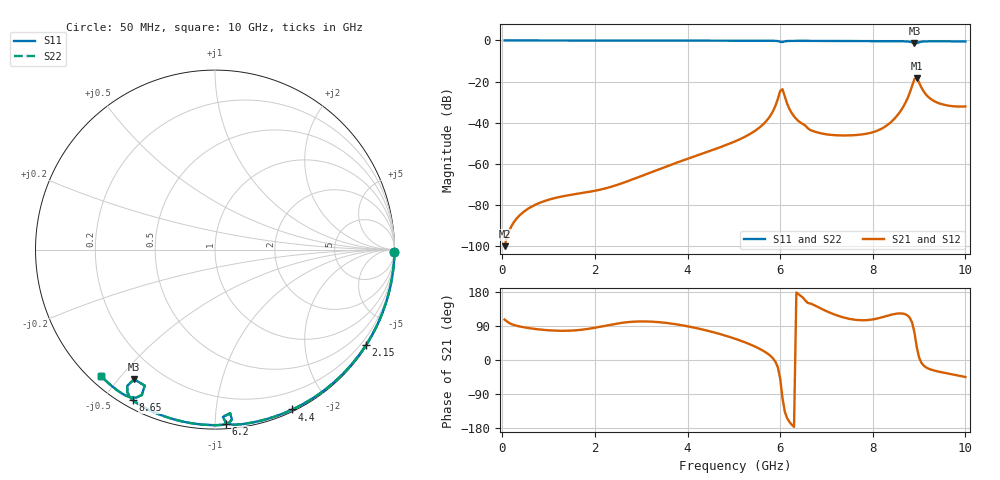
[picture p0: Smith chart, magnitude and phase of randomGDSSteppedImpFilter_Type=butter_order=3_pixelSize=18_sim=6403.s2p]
! freq	dB(S11)	phase(S11)	dB(S12)	phase(S12)
!  dB(S21)	phase(S21)	dB(S22)	phase(S22)
!S-par simulation data
#  GHz  S  DB  R 50
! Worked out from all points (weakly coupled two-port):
!   200 points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, 50 MHz to 10 GHz, reference 50 ohm
!   highest |S21| = -18.17 dB at 8.95 GHz (marker M1); lowest = -99.8 dB at 50 MHz (marker M2)
!   lowest |S11| = -1.4 dB at 8.9 GHz (marker M3), VSWR 12.47, Z = 5.23 - j27.5 ohm
!   |S11| at or under -10 dB: nowhere
!   |S22| runs from -1.4 to 0.0 dB; largest |S21 - S12| = 0
!   S11 on the Smith chart (normalised r, x): 50 MHz: open; 2.15 GHz: 0.03, -3.45; 4.4 GHz: 0.02, -1.59; 6.2 GHz: 0.03, -1.07; 8.65 GHz: 0.03, -0.59; 10 GHz: 0.03, -0.44
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0.05  -0.00 -0.8  -99.84 106.7  -99.84 106.7  -0.00 -0.8
0.7  -0.01 -10.7  -79.88 82.0  -79.88 82.0  -0.01 -10.7
1.75  -0.03 -26.4  -73.95 80.4  -73.95 80.4  -0.03 -26.4
2.15  -0.04 -32.3  -72.22 88.7  -72.22 88.7  -0.04 -32.3
3.4  -0.07 -50.3  -62.35 99.6  -62.35 99.6  -0.07 -50.3
4.4  -0.09 -64.2  -54.30 78.3  -54.30 78.3  -0.09 -64.2
5.05  -0.11 -73.0  -48.75 55.2  -48.75 55.2  -0.11 -73.0
5.7  -0.14 -81.9  -39.13 19.3  -39.13 19.3  -0.14 -81.9
5.85  -0.18 -84.3  -34.13 3.6  -34.13 3.6  -0.18 -84.3
6  -0.61 -87.3  -24.52 -48.3  -24.52 -48.3  -0.60 -87.2
6.05  -0.77 -84.7  -23.66 -100.0  -23.66 -100.0  -0.76 -84.7
6.2  -0.24 -86.4  -33.23 -163.4  -33.23 -163.4  -0.24 -86.4
6.4  -0.19 -89.5  -39.20 173.5  -39.20 173.5  -0.19 -89.5
6.7  -0.20 -93.5  -43.91 146.7  -43.91 146.7  -0.20 -93.4
7.65  -0.25 -105.3  -45.89 105.7  -45.89 105.7  -0.25 -105.3
8.35  -0.32 -114.1  -40.46 117.9  -40.46 117.9  -0.32 -114.1
8.65  -0.40 -118.5  -32.50 122.4  -32.50 122.4  -0.40 -118.5
8.9  -1.40 -122.0  -18.75 72.5  -18.75 72.5  -1.39 -122.0
8.95  -1.38 -117.3  -18.17 34.1  -18.17 34.1  -1.38 -117.3
9.1  -0.49 -119.3  -24.78 -14.8  -24.78 -14.8  -0.49 -119.3
9.3  -0.40 -122.9  -29.11 -27.0  -29.11 -27.0  -0.40 -122.9
10  -0.46 -132.0  -32.03 -44.9  -32.03 -44.9  -0.46 -132.0
